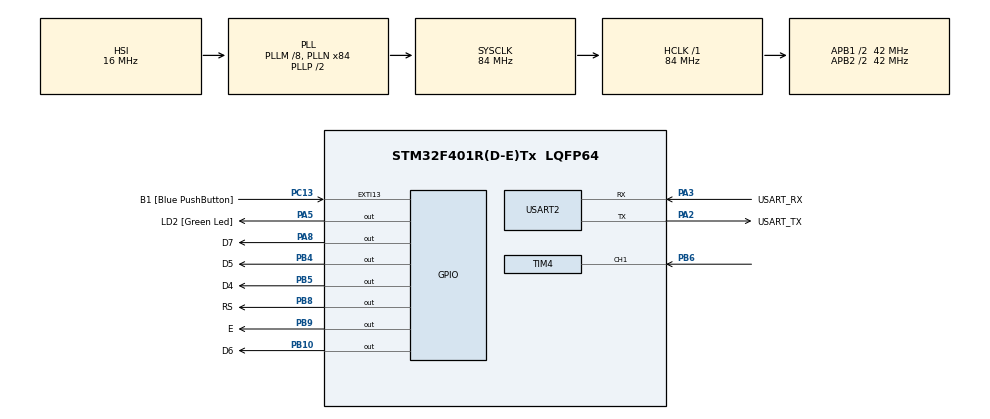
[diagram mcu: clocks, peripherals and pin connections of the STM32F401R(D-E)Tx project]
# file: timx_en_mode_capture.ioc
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Mcu.Family=STM32F4
Mcu.Name=STM32F401R(D-E)Tx
Mcu.Package=LQFP64
NVIC.PriorityGroup=NVIC_PRIORITYGROUP_0
NVIC.TIM4_IRQn=true\:0\:0\:false\:false\:true\:true\:true\:true
PA13.GPIO_Label=TMS
PA13.Mode=Serial_Wire
PA13.Signal=SYS_JTMS-SWDIO
PA14.GPIO_Label=TCK
PA14.Mode=Serial_Wire
PA14.Signal=SYS_JTCK-SWCLK
PA2.GPIO_Label=USART_TX
PA2.GPIO_Mode=GPIO_MODE_AF_PP
PA2.GPIO_PuPd=GPIO_NOPULL
PA2.GPIO_Speed=GPIO_SPEED_FREQ_LOW
PA2.Mode=Asynchronous
PA2.Signal=USART2_TX
PA3.GPIO_Label=USART_RX
PA3.GPIO_Mode=GPIO_MODE_AF_PP
PA3.GPIO_PuPd=GPIO_NOPULL
PA3.GPIO_Speed=GPIO_SPEED_FREQ_LOW
PA3.Mode=Asynchronous
PA3.Signal=USART2_RX
PA5.GPIO_Label=LD2 [Green Led]
PA5.GPIO_Mode=GPIO_MODE_OUTPUT_PP
PA5.GPIO_PuPd=GPIO_NOPULL
PA5.GPIO_Speed=GPIO_SPEED_FREQ_LOW
PA5.Signal=GPIO_Output
PA8.GPIO_Label=D7
PA8.Signal=GPIO_Output
PB10.GPIO_Label=D6
PB10.Signal=GPIO_Output
PB3.GPIO_Label=SWO
PB3.Signal=SYS_JTDO-SWO
PB4.GPIO_Label=D5
PB4.Signal=GPIO_Output
PB5.GPIO_Label=D4
PB5.Signal=GPIO_Output
PB6.Signal=S_TIM4_CH1
PB8.GPIO_Label=RS
PB8.Signal=GPIO_Output
PB9.GPIO_Label=E
PB9.Signal=GPIO_Output
PC13-ANTI_TAMP.GPIO_Label=B1 [Blue PushButton]
PC13-ANTI_TAMP.GPIO_ModeDefaultEXTI=GPIO_MODE_IT_FALLING
PC13-ANTI_TAMP.GPIO_PuPd=GPIO_NOPULL
PC13-ANTI_TAMP.Signal=GPXTI13
PC14-OSC32_IN.Mode=LSE-External-Oscillator
PC14-OSC32_IN.Signal=RCC_OSC32_IN
PC15-OSC32_OUT.Mode=LSE-External-Oscillator
PC15-OSC32_OUT.Signal=RCC_OSC32_OUT
PH0\ -\ OSC_IN.Mode=HSE-External-Clock-Source
PH0\ -\ OSC_IN.Signal=RCC_OSC_IN
PH1\ -\ OSC_OUT.Mode=HSE-External-Clock-Source
PH1\ -\ OSC_OUT.Signal=RCC_OSC_OUT
ProjectManager.HeapSize=0x200
ProjectManager.StackSize=0x400
ProjectManager.TargetToolchain=STM32CubeIDE
RCC.48MHZClocksFreq_Value=24000000
RCC.AHBFreq_Value=84000000
RCC.APB1CLKDivider=RCC_HCLK_DIV2
RCC.APB1Freq_Value=42000000
RCC.APB1TimFreq_Value=84000000
RCC.APB2CLKDivider=RCC_HCLK_DIV2
RCC.APB2Freq_Value=42000000
RCC.APB2TimFreq_Value=84000000
RCC.CortexFreq_Value=84000000
RCC.HCLKFreq_Value=84000000
RCC.HSE_VALUE=8000000
RCC.HSI_VALUE=16000000
RCC.PLLM=8
RCC.PLLN=84
RCC.PLLQ=7
RCC.SYSCLKFreq_VALUE=84000000
RCC.SYSCLKSource=RCC_SYSCLKSOURCE_PLLCLK
RCC.VCOOutputFreq_Value=168000000
SH.S_TIM4_CH1.0=TIM4_CH1,Input_Capture1_from_TI1
TIM4.Channel-Input_Capture1_from_TI1=TIM_CHANNEL_1
TIM4.Period=50000-1
TIM4.Prescaler=100-1
USART2.VirtualMode=VM_ASYNC
board=NUCLEO-F401RE

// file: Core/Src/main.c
/* USER CODE BEGIN Header */
/**
  ******************************************************************************
  * @file           : main.c
  * @brief          : Main program body
  ******************************************************************************
  * @attention
  *
  * Copyright (c) 2024 STMicroelectronics.
  * All rights reserved.
  *
  * This software is licensed under terms that can be found in the LICENSE file
  * in the root directory of this software component.
  * If no LICENSE file comes with this software, it is provided AS-IS.
  *
  ******************************************************************************
  */
/* USER CODE END Header */
#include "main.h"

/* USER CODE BEGIN Includes */
#include "lcd.h"
/* USER CODE END Includes */

TIM_HandleTypeDef htim4;

UART_HandleTypeDef huart2;

/* USER CODE BEGIN PV */
uint32_t capture1 = 0;
uint32_t capture2 = 0;
uint32_t period = 0;
uint32_t frequency = 0;
/* USER CODE END PV */

void SystemClock_Config(void);
static void MX_GPIO_Init(void);
static void MX_USART2_UART_Init(void);
static void MX_TIM4_Init(void);

/* USER CODE BEGIN 0 */
uint8_t Buffer[25] = {0};
uint8_t Space[] = "-";
uint8_t StartMSG[] = "Starting I2C scanning \r\n";
uint8_t EndMSG[] = "Done \r\n\r\n";
GPIO_InitTypeDef GPIO_InitStructPrivate = {0};
uint32_t previousMillis = 0;
uint32_t currentMillis = 0;
int i=0;
int j=0;
int k=0;
float val=22.5;
/* USER CODE END 0 */

int main(void)
{

  /* MCU Configuration--------------------------------------------------------*/

  /* Reset of all peripherals, Initializes the Flash interface and the Systick. */
  HAL_Init();

  /* Configure the system clock */
  SystemClock_Config();

  /* Initialize all configured peripherals */
  MX_GPIO_Init();
  MX_USART2_UART_Init();
  MX_TIM4_Init();
  /* USER CODE BEGIN 2 */
  HAL_TIM_IC_Start_IT(&htim4, TIM_CHANNEL_1);
  HAL_TIM_Base_Start(&htim4);
  //configuration pins LCD
      Lcd_PortType ports[] = {D4_GPIO_Port,D5_GPIO_Port,D6_GPIO_Port,D7_GPIO_Port };
      //Lcd portType ports[}={GPIOC,GPIOB,GPIOA,GPIOA};
    Lcd_PinType pins[]={D4_Pin,D5_Pin,D6_Pin,D7_Pin};
    //Lcd_PinType pins[]={GPIO_PIN_7,GPIO_PIN_6,GPIO_PIN_7,GPIO_PIN_6};
  Lcd_HandleTypeDef lcd;
    lcd=Lcd_create(ports,pins,RS_GPIO_Port,RS_Pin,E_GPIO_Port,E_Pin,LCD_4_BIT_MODE);
    Lcd_cursor(&lcd,0,2);
    Lcd_string(&lcd,"TEST LCD");
  /* USER CODE END 2 */

  /* Infinite loop */
  /* USER CODE BEGIN WHILE */
  while (1)
  {   HAL_GPIO_TogglePin(GPIOA, GPIO_PIN_5);
	  Lcd_cursor(&lcd,1,7);
  Lcd_int(&lcd,frequency);
    /* USER CODE END WHILE */

  }
}

void SystemClock_Config(void)
{
  RCC_OscInitTypeDef RCC_OscInitStruct = {0};
  RCC_ClkInitTypeDef RCC_ClkInitStruct = {0};

  /** Configure the main internal regulator output voltage
  */
  __HAL_RCC_PWR_CLK_ENABLE();
  __HAL_PWR_VOLTAGESCALING_CONFIG(PWR_REGULATOR_VOLTAGE_SCALE2);

  /** Initializes the RCC Oscillators according to the specified parameters
  * in the RCC_OscInitTypeDef structure.
  */
  RCC_OscInitStruct.OscillatorType = RCC_OSCILLATORTYPE_HSI;
  RCC_OscInitStruct.HSIState = RCC_HSI_ON;
  RCC_OscInitStruct.HSICalibrationValue = RCC_HSICALIBRATION_DEFAULT;
  RCC_OscInitStruct.PLL.PLLState = RCC_PLL_ON;
  RCC_OscInitStruct.PLL.PLLSource = RCC_PLLSOURCE_HSI;
  RCC_OscInitStruct.PLL.PLLM = 8;
  RCC_OscInitStruct.PLL.PLLN = 84;
  RCC_OscInitStruct.PLL.PLLP = RCC_PLLP_DIV2;
  RCC_OscInitStruct.PLL.PLLQ = 7;
  if (HAL_RCC_OscConfig(&RCC_OscInitStruct) != HAL_OK)
  {
    Error_Handler();
  }

  /** Initializes the CPU, AHB and APB buses clocks
  */
  RCC_ClkInitStruct.ClockType = RCC_CLOCKTYPE_HCLK|RCC_CLOCKTYPE_SYSCLK
                              |RCC_CLOCKTYPE_PCLK1|RCC_CLOCKTYPE_PCLK2;
  RCC_ClkInitStruct.SYSCLKSource = RCC_SYSCLKSOURCE_PLLCLK;
  RCC_ClkInitStruct.AHBCLKDivider = RCC_SYSCLK_DIV1;
  RCC_ClkInitStruct.APB1CLKDivider = RCC_HCLK_DIV2;
  RCC_ClkInitStruct.APB2CLKDivider = RCC_HCLK_DIV2;

  if (HAL_RCC_ClockConfig(&RCC_ClkInitStruct, FLASH_LATENCY_2) != HAL_OK)
  {
    Error_Handler();
  }
}

static void MX_TIM4_Init(void)
{

  TIM_MasterConfigTypeDef sMasterConfig = {0};
  TIM_IC_InitTypeDef sConfigIC = {0};

  htim4.Instance = TIM4;
  htim4.Init.Prescaler = 100-1;
  htim4.Init.CounterMode = TIM_COUNTERMODE_UP;
  htim4.Init.Period = 50000-1;
  htim4.Init.ClockDivision = TIM_CLOCKDIVISION_DIV1;
  htim4.Init.AutoReloadPreload = TIM_AUTORELOAD_PRELOAD_DISABLE;
  if (HAL_TIM_IC_Init(&htim4) != HAL_OK)
  {
    Error_Handler();
  }
  sMasterConfig.MasterOutputTrigger = TIM_TRGO_RESET;
  sMasterConfig.MasterSlaveMode = TIM_MASTERSLAVEMODE_DISABLE;
  if (HAL_TIMEx_MasterConfigSynchronization(&htim4, &sMasterConfig) != HAL_OK)
  {
    Error_Handler();
  }
  sConfigIC.ICPolarity = TIM_INPUTCHANNELPOLARITY_RISING;
  sConfigIC.ICSelection = TIM_ICSELECTION_DIRECTTI;
  sConfigIC.ICPrescaler = TIM_ICPSC_DIV1;
  sConfigIC.ICFilter = 0;
  if (HAL_TIM_IC_ConfigChannel(&htim4, &sConfigIC, TIM_CHANNEL_1) != HAL_OK)
  {
    Error_Handler();
  }

}

static void MX_USART2_UART_Init(void)
{

  huart2.Instance = USART2;
  huart2.Init.BaudRate = 115200;
  huart2.Init.WordLength = UART_WORDLENGTH_8B;
  huart2.Init.StopBits = UART_STOPBITS_1;
  huart2.Init.Parity = UART_PARITY_NONE;
  huart2.Init.Mode = UART_MODE_TX_RX;
  huart2.Init.HwFlowCtl = UART_HWCONTROL_NONE;
  huart2.Init.OverSampling = UART_OVERSAMPLING_16;
  if (HAL_UART_Init(&huart2) != HAL_OK)
  {
    Error_Handler();
  }

}

static void MX_GPIO_Init(void)
{
  GPIO_InitTypeDef GPIO_InitStruct = {0};

  /* GPIO Ports Clock Enable */
  __HAL_RCC_GPIOC_CLK_ENABLE();
  __HAL_RCC_GPIOH_CLK_ENABLE();
  __HAL_RCC_GPIOA_CLK_ENABLE();
  __HAL_RCC_GPIOB_CLK_ENABLE();

  /*Configure GPIO pin Output Level */
  HAL_GPIO_WritePin(GPIOA, LD2_Pin|D7_Pin, GPIO_PIN_RESET);

  /*Configure GPIO pin Output Level */
  HAL_GPIO_WritePin(GPIOB, D6_Pin|D5_Pin|D4_Pin|RS_Pin
                          |E_Pin, GPIO_PIN_RESET);

  /*Configure GPIO pin : B1_Pin */
  GPIO_InitStruct.Pin = B1_Pin;
  GPIO_InitStruct.Mode = GPIO_MODE_IT_FALLING;
  GPIO_InitStruct.Pull = GPIO_NOPULL;
  HAL_GPIO_Init(B1_GPIO_Port, &GPIO_InitStruct);

  /*Configure GPIO pins : LD2_Pin D7_Pin */
  GPIO_InitStruct.Pin = LD2_Pin|D7_Pin;
  GPIO_InitStruct.Mode = GPIO_MODE_OUTPUT_PP;
  GPIO_InitStruct.Pull = GPIO_NOPULL;
  GPIO_InitStruct.Speed = GPIO_SPEED_FREQ_LOW;
  HAL_GPIO_Init(GPIOA, &GPIO_InitStruct);

  /*Configure GPIO pins : D6_Pin D5_Pin D4_Pin RS_Pin
                           E_Pin */
  GPIO_InitStruct.Pin = D6_Pin|D5_Pin|D4_Pin|RS_Pin
                          |E_Pin;
  GPIO_InitStruct.Mode = GPIO_MODE_OUTPUT_PP;
  GPIO_InitStruct.Pull = GPIO_NOPULL;
  GPIO_InitStruct.Speed = GPIO_SPEED_FREQ_LOW;
  HAL_GPIO_Init(GPIOB, &GPIO_InitStruct);

}

/* USER CODE BEGIN 4 */
// Variables globales

void HAL_TIM_IC_CaptureCallback(TIM_HandleTypeDef* htim)
{
	if (htim->Instance == TIM4 && htim->Channel == HAL_TIM_ACTIVE_CHANNEL_1)
	{
	if (capture1 == 0)
	{
	capture1 = HAL_TIM_ReadCapturedValue(htim, TIM_CHANNEL_1);
	}
	else if (capture2 == 0)
	{
	capture2 = HAL_TIM_ReadCapturedValue(htim, TIM_CHANNEL_1);
	if (capture2 > capture1)
	{
	period = capture2 - capture1;
	}
	else
	{
	period = (htim->Instance->ARR - capture1) + capture2;
	}
	frequency = HAL_RCC_GetPCLK1Freq() / period;
	capture1 = 0;
	capture2 = 0;
	}
	}
}
/* USER CODE END 4 */

void Error_Handler(void)
{
  __disable_irq();
  while (1)
  {
  }
}
